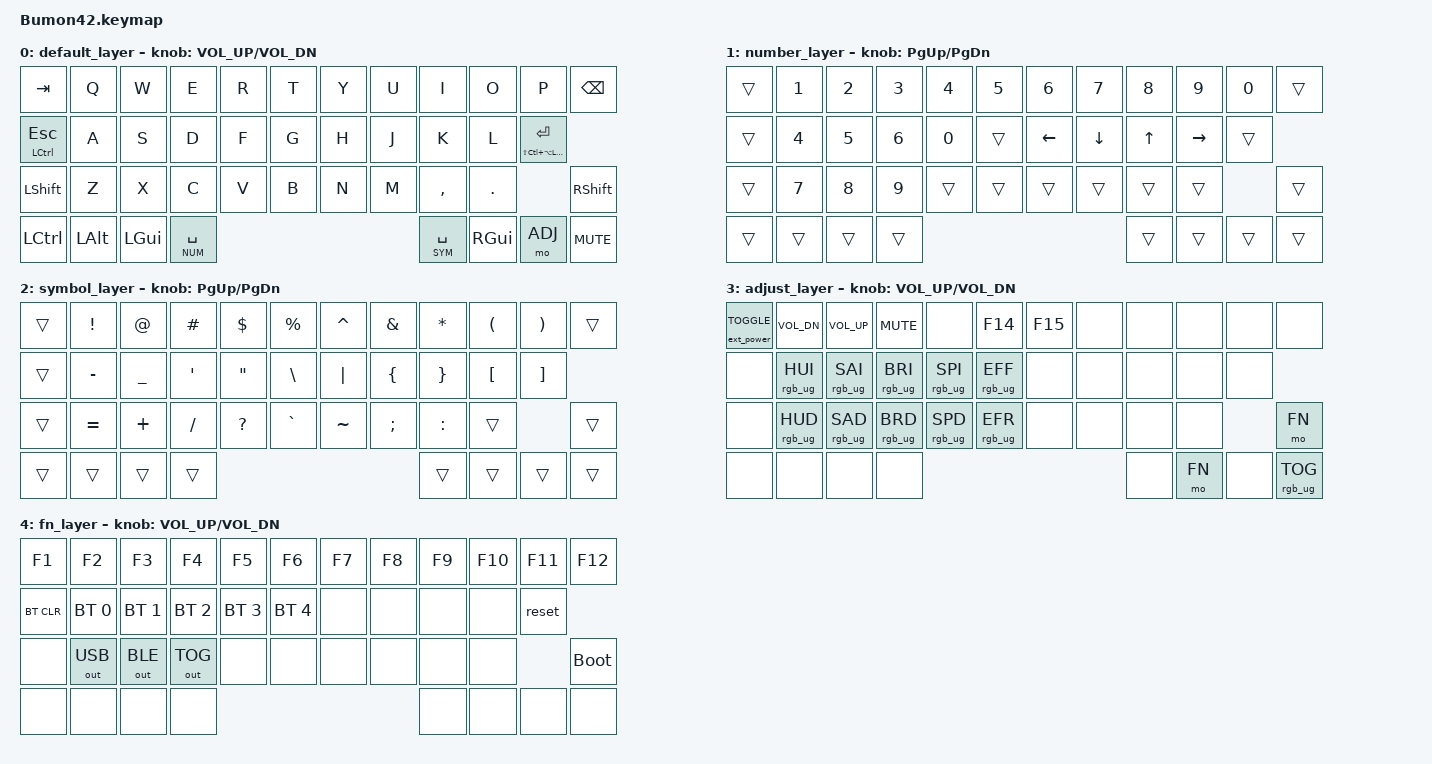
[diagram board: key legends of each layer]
#include <behaviors.dtsi>
#include <dt-bindings/zmk/keys.h>
#include <dt-bindings/zmk/bt.h>
#include <dt-bindings/zmk/outputs.h>
#include <dt-bindings/zmk/rgb.h>
#include <dt-bindings/zmk/ext_power.h>


#define DEF 0
#define NUM 1
#define SYM 2
#define ADJ 3
#define FN  4

#define TAPPING_TERM 200
#define COMBO_TIMEOUT 40

#define HYP LS(LC(LA(LGUI)))
#define HYPER(key) LS(LC(LA(LG(key))))
  
&mt {
  tapping-term-ms = <TAPPING_TERM>;
};

// key positions
/* --------------------------------------------------------------------------------
*  |  0  |  1  |  2  |  3  |  4  |  5  |  6  |  7  |  8  |  9  |  10 |  11 |
*  |  12  |  13 |  14 |  15 | 16 |  17 |  18 |  19 |  20 |  21 |  22       |
*  |  23   |  24 |  25 |  26 |  27 |  28 |  29 |  30 |  31 |  32 |  33     |
*  |  34  |  35 |  36  |  37           |  38        |  39    |  40 |  41   |
*/


/ {
  keymap {
      compatible = "zmk,keymap";

      default_layer {
        bindings = <
          &kp TAB       &kp Q  &kp W  &kp E  &kp R  &kp T      &kp Y  &kp U  &kp I  &kp O   &kp P  &kp BSPC
          &mt LCTRL ESC &kp A  &kp S  &kp D  &kp F  &kp G      &kp H  &kp J  &kp K  &kp L   &mt HYP ENTER
          &kp LSHFT     &kp Z  &kp X  &kp C  &kp V  &kp B      &kp N  &kp M  &kp COMMA &kp DOT   &kp RSHFT
          &kp LCTRL     &kp LALT &kp LGUI &lt NUM SPACE        &lt SYM SPACE &kp RGUI  &mo ADJ  &kp C_MUTE
            >;
        sensor-bindings = <&inc_dec_kp C_VOL_UP C_VOL_DN>;

      };

      number_layer {
        bindings = <
          &trans  &kp N1  &kp N2  &kp N3  &kp N4 &kp N5                 &kp N6  &kp N7  &kp N8  &kp N9 &kp N0  &trans
          &trans  &kp N4  &kp N5  &kp N6  &kp N0 &trans                 &kp LEFT  &kp DOWN  &kp UP  &kp RIGHT  &trans
          &trans  &kp N7  &kp N8  &kp N9  &trans &trans &trans  &trans  &trans  &trans &trans
          &trans  &trans   &trans   &trans             &trans            &trans  &trans  &trans
            >;
        sensor-bindings = <&inc_dec_kp PG_UP PG_DN>;
      };

      symbol_layer {
        bindings = <
          &trans &kp  EXCL &kp AT  &kp HASH  &kp DOLLAR  &kp PRCNT     &kp CARET  &kp AMPS  &kp STAR  &kp LPAR  &kp RPAR  &trans 
          &trans &kp MINUS  &kp UNDER  &kp SQT &kp DQT &kp BSLH &kp PIPE &kp LBRC  &kp RBRC  &kp LBKT  &kp RBKT   
          &trans &kp EQUAL  &kp PLUS  &kp FSLH &kp QMARK  &kp GRAVE &kp TILDE &kp SEMI &kp COLON  &trans  &trans 
          &trans   &trans   &trans       &trans           &trans          &trans  &trans  &trans
            >;
        sensor-bindings = <&inc_dec_kp PG_UP PG_DN>;
      };

      adjust_layer {
        bindings = <
          &ext_power EXT_POWER_TOGGLE_CMD  &kp C_VOL_DN  &kp C_VOL_UP  &kp C_MUTE &none  &kp F14  &kp F15  &none  &none &none &none &none
          &none  &rgb_ug RGB_HUI  &rgb_ug RGB_SAI  &rgb_ug RGB_BRI  &rgb_ug RGB_SPI  &rgb_ug RGB_EFF   &none  &none  &none  &none  &none
          &none  &rgb_ug RGB_HUD  &rgb_ug RGB_SAD  &rgb_ug RGB_BRD  &rgb_ug RGB_SPD  &rgb_ug RGB_EFR   &none  &none  &none  &none  &mo FN
          &none  &none &none  &none  &none &mo FN  &none &rgb_ug RGB_TOG
            >;
        sensor-bindings = <&inc_dec_kp C_VOL_UP C_VOL_DN>;
      };

      fn_layer {
        bindings = <
          &kp F1  &kp F2  &kp F3  &kp F4  &kp F5  &kp F6   &kp F7  &kp F8  &kp F9  &kp F10  &kp F11  &kp F12
          &bt BT_CLR  &bt BT_SEL 0 &bt BT_SEL 1 &bt BT_SEL 2 &bt BT_SEL 3 &bt BT_SEL 4   &none  &none  &none  &none  &reset
          &none &out OUT_USB  &out OUT_BLE  &out OUT_TOG  &none  &none  &none   &none  &none  &none  &bootloader
          &none &none  &none  &none  &none  &none   &none  &none
            >;
        sensor-bindings = <&inc_dec_kp C_VOL_UP C_VOL_DN>;
      };
  };
};
